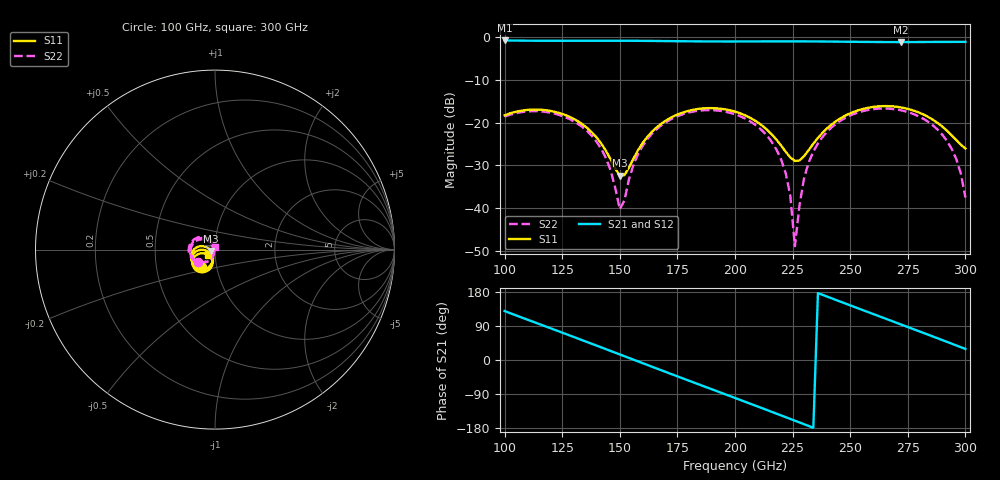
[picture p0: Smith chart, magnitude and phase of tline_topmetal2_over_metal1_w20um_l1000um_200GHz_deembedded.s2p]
! Created with skrf 2.0.1 (http://scikit-rf.org).
# GHz S DB R 50.0
!freq dBS11 angS11 dBS21 angS21 dBS12 angS12 dBS22 angS22
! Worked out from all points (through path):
!   101 points, 100 GHz to 300 GHz, reference 50 ohm
!   highest |S21| = -0.75 dB at 100 GHz (marker M1); lowest = -1.1 dB at 272 GHz (marker M2)
!   group delay of S21, straight-line fit = 6.39 ps
!   lowest |S11| = -32.4 dB at 150 GHz (marker M3), VSWR 1.05, Z = 47.8 - j0.774 ohm
!   |S11| at or under -10 dB: start of sweep to end of sweep
!   |S22| runs from -48.9 to -16.7 dB; largest |S21 - S12| = 1.1e-14
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100  -18.27 -127.7  -0.75 129.1  -0.75 129.1  -18.58 -145.7
116  -16.98 -158.6  -0.82 92.7  -0.82 92.7  -17.37 178.6
134  -20.46 170.1  -0.82 51.6  -0.82 51.6  -21.12 139.4
144  -26.60 165.1  -0.81 28.6  -0.81 28.6  -28.31 123.8
150  -32.41 -160.2  -0.82 14.7  -0.82 14.7  -40.29 166.3
158  -26.37 -102.8  -0.83 -3.9  -0.83 -3.9  -27.26 -114.9
168  -20.24 -108.0  -0.88 -27.0  -0.88 -27.0  -20.63 -131.9
184  -16.78 -134.4  -0.96 -63.7  -0.96 -63.7  -17.21 -167.0
200  -17.41 -161.9  -0.99 -100.2  -0.99 -100.2  -18.04 156.7
212  -20.78 -177.6  -0.97 -127.7  -0.97 -127.7  -21.96 129.6
220  -25.35 -175.4  -0.96 -146.2  -0.96 -146.2  -28.60 113.3
224  -28.16 -159.7  -0.96 -155.5  -0.96 -155.5  -37.11 112.1
226  -28.98 -145.5  -0.96 -160.2  -0.96 -160.2  -48.92 157.0
228  -28.84 -129.7  -0.96 -164.8  -0.96 -164.8  -39.30 -107.7
230  -27.82 -116.4  -0.97 -169.5  -0.97 -169.5  -32.95 -103.5
234  -24.93 -102.6  -0.98 -178.8  -0.98 -178.8  -26.78 -108.9
248  -18.31 -108.2  -1.04 148.8  -1.04 148.8  -18.85 -139.8
268  -16.17 -139.3  -1.12 103.0  -1.12 103.0  -16.77 173.5
272  -16.42 -145.6  -1.12 93.9  -1.12 93.9  -17.10 164.0
292  -21.88 -164.9  -1.08 47.9  -1.08 47.9  -24.28 114.9
296  -24.04 -159.8  -1.08 38.6  -1.08 38.6  -28.46 103.6
300  -26.05 -145.3  -1.08 29.2  -1.08 29.2  -37.52 85.7
